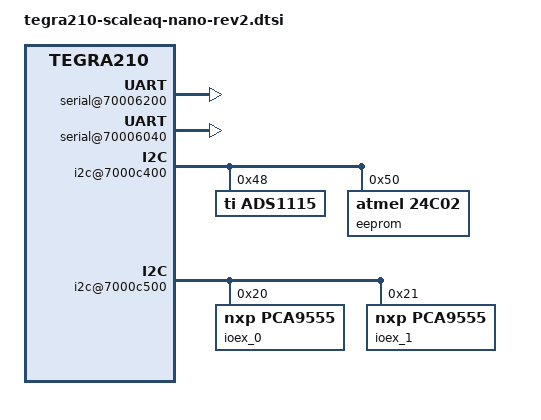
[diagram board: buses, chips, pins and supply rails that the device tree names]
/* This file will be applied after tegra210-scaleaq-nano-common.dtsi */

#include "tegra210-scaleaq-nano-common.dtsi"

/ {
	scaleaq,carrier_revision = "2";

	serial@70006200 { /* UART-C: EPR100030 communication */
		status = "okay";
	};

	serial@70006040 { /* UART-B: Oxygen communication */
		status = "okay";
	};

	/* I2C1 - ADC reading */
	i2c@7000c400 {
		status = "okay";

		ads1115: ads1115 {
			compatible = "ti,ads1115";
			status = "okay";
			#address-cells = <1>;
			#size-cells = <0>;
			reg = <0x48>;

			/* These two channel will be availabe in hwmon module.
			 * Check https://jumpnowtek.com/rpi/Using-ads1115-ADCs-with-Raspberry-Pis.html
			 *   and https://github.com/raspberrypi/linux/blob/rpi-4.9.y/arch/arm/boot/dts/overlays/ads1115-overlay.dts
			 *   and https://www.kernel.org/doc/Documentation/hwmon/ads1015
			 * Read by command: ls /sys/class/hwmon/hwmon0/device
			 */
			channel_a: channel_a {
				/* Presure sensor, 0-5V, throught divider resistors, range is 0-2.58V
				 */
				reg = <4>;
				ti,gain = <1>;
				ti,datarate = <1>;
			};

			channel_b: channel_b {
				reg = <5>;
				ti,gain = <1>;
				ti,datarate = <1>;
			};
		};

		/* Configuration for 24AA02E64 eeprom, but not sure it is correct or not
		 * There is no reference device tree for this type of EEPROM.
		 */
		eeprom@50 {
			compatible = "atmel,24c02";
			reg = <0x50>;
			pagesize = <8>;
		};
	};

	/* I2C 2 - for GPIO expander */
	i2c@7000c500 {
		status = "okay";

		/* TCA9555 driver, address 0x20, interrupt GPIO10 */
		ioex_0: gpio@20 {
			compatible = "nxp,pca9555";
			reg = <0x20>;
			/* No input pins, so no interrupt definition is required */

			gpio-controller;
			#gpio-cells = <2>;
			ngpios = <16>;
			gpio-line-names =
				"shdn-1", "de-1", "re-1", "485232-1", "te-1",
				"iris-dir", "iris-en", "iris-sleep",
				"ir-filter-en", "ir-filter-ph",
				"", "", "", "", "", "";
			shdn-1 {
				gpio-hog;
				gpios = <0 GPIO_ACTIVE_HIGH>;
				output-low;
				line-name = "shdn-1";
			};
			de-1 {
				gpio-hog;
				gpios = <1 GPIO_ACTIVE_HIGH>;
				output-low;
				line-name = "de-1";
			};
			re-1 {
				gpio-hog;
				gpios = <2 GPIO_ACTIVE_HIGH>;
				output-low;
				line-name = "re-1";
			};
			485232-1 {
				gpio-hog;
				gpios = <3 GPIO_ACTIVE_HIGH>;
				output-low;
				line-name = "485232-1";
			};
			te-1 {
				gpio-hog;
				gpios = <4 GPIO_ACTIVE_HIGH>;
				output-low;
				line-name = "te-1";
			};
			iris-dir {
				gpio-hog;
				gpios = <5 GPIO_ACTIVE_HIGH>;
				output-low;
				line-name = "iris-dir";
			};
			iris-en {
				gpio-hog;
				gpios = <6 GPIO_ACTIVE_HIGH>;
				output-low;
				line-name = "iris-en";
			};
			iris-sleep {
				gpio-hog;
				gpios = <7 GPIO_ACTIVE_HIGH>;
				output-low;
				line-name = "iris-sleep";
			};
			ir-en {
				gpio-hog;
				gpios = <8 GPIO_ACTIVE_HIGH>;
				output-low;
				line-name = "ir-en";
			};
			ir-ph {
				gpio-hog;
				gpios = <9 GPIO_ACTIVE_HIGH>;
				output-low;
				line-name = "ir-ph";
			};
		};

		ioex_1: gpio@21 {
			compatible = "nxp,pca9555";
			reg = <0x21>;
			/* No input pins, so no interrupt definition is required */

			gpio-controller;
			#gpio-cells = <2>;
			ngpios = <16>;
			gpio-line-names = \
				"shdn-2", "de-2", "re-2", "485232-2", "te-2", \
				"", "", "", \
				"leden-1", "leden-2", "leden-3", \
				"", "", \
				"poe-tpl", "poe-tph", "poe-bt"; \
			shdn-2 {
				gpio-hog;
				gpios = <0 GPIO_ACTIVE_HIGH>;
				output-low;
				line-name = "shdn-2";
			};
			de-2 {
				gpio-hog;
				gpios = <1 GPIO_ACTIVE_HIGH>;
				output-low;
				line-name = "de-2";
			};
			re-2 {
				gpio-hog;
				gpios = <2 GPIO_ACTIVE_HIGH>;
				output-low;
				line-name = "re-2";
			};
			485232-2 {
				gpio-hog;
				gpios = <3 GPIO_ACTIVE_HIGH>;
				output-low;
				line-name = "485232-2";
			};
			te-2 {
				gpio-hog;
				gpios = <4 GPIO_ACTIVE_HIGH>;
				output-low;
				line-name = "te-2";
			};
			leden-1 {
				gpio-hog;
				gpios = <8 GPIO_ACTIVE_HIGH>;
				output-low;
				line-name = "leden-1";
			};
			leden-2 {
				gpio-hog;
				gpios = <9 GPIO_ACTIVE_HIGH>;
				output-low;
				line-name = "leden-2";
			};
			leden-3 {
				gpio-hog;
				gpios = <10 GPIO_ACTIVE_HIGH>;
				output-low;
				line-name = "leden-3";
			};
			poe-tpl {
				gpio-hog;
				gpios = <13 GPIO_ACTIVE_HIGH>;
				line-name = "poe-tpl";
			};
			poe-tph {
				gpio-hog;
				gpios = <14 GPIO_ACTIVE_HIGH>;
				line-name = "poe-tph";
			};
			poe-bt {
				gpio-hog;
				gpios = <15 GPIO_ACTIVE_HIGH>;
				line-name = "poe-bt";
			};
		};

		/delete-node/ battery-charger@6b;
	};

	gpio@6000d000 {
		gpio-line-names = \
			"",             "",             "",             "",             "",             "",             "",             "",             "",             "", // 09
			"",             "",             "",             "",             "",             "",             "",             "",             "",             "", // 19
			"",             "",             "",             "",             "",             "",             "",             "",             "",             "", // 29
			"",             "",             "",             "",             "",             "",             "",             "",             "IRIS_PWM",     "", // 39
			"",             "",             "",             "",             "",             "",             "",             "",             "",             "", // 49
			"",             "",             "",             "",             "",             "",             "",             "",             "",             "", // 59
			"",             "",             "",             "BNO_BOOT",     "CAM_I2C_SEL0", "CAM_I2C_SEL1", "",             "",             "",             "", // 69
			"",             "",             "",             "",             "",             "",             "",             "",             "",             "", // 79
			"",             "",             "",             "",             "",             "",             "",             "",             "",             "", // 89
			"",             "",             "",             "",             "",             "",             "",             "",             "",             "", // 99
			"",             "",             "",             "",             "",             "",             "",             "",             "",             "", // 109
			"",             "",             "",             "",             "",             "",             "",             "",             "",             "", // 119
			"",             "",             "",             "",             "",             "",             "",             "",             "",             "", // 129
			"",             "",             "",             "",             "",             "",             "",             "",             "",             "", // 139
			"",             "",             "",             "",             "",             "",             "",             "",             "",             "", // 149
			"",             "",             "",             "",             "",             "",             "",             "",             "",             "", // 159
			"",             "",             "",             "",             "",             "",             "",             "",             "LED_DIM",      "BNO_RST", // 169
			"",             "",             "",             "",             "",             "",             "",             "",             "",             "", // 179
			"",             "",             "",             "",             "",             "",             "",             "",             "",             "", // 189
			"",             "",             "",             "",             "TPM_INTR",     "",             "",             "",             "",             "", // 199
			"BNO_INTR",     "",             "",             "",             "",             "",             "",             "",             "",             "", // 209
			"",             "",             "",             "",             "",             "",             "TPM_RST",      "",             "",             "", // 219
			"",             "",             "",             "",             "",             "",             "",             "",             "",             "", // 229
			"",             "",             "",             "",             "",             "",             "",             "",             "",             "", // 239
			"",             "",             "",             "",             "";
	};
};
